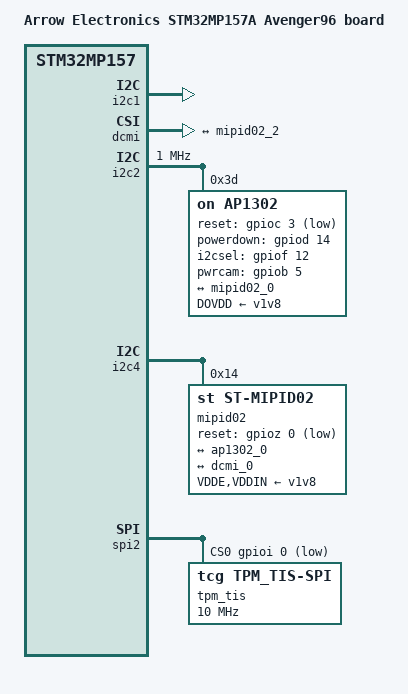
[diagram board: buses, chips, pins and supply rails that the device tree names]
// SPDX-License-Identifier: (GPL-2.0+ OR BSD-3-Clause)
/*
 * Copyright (C) Arrow Electronics 2020 - All Rights Reserved
 * Author: Botond Kardos <botond.kardos@arroweurope.com> for Arrow Electronics
 */
/dts-v1/;

#include "stm32mp157a-av96.dtsi"

/ {
	model = "Arrow Electronics STM32MP157A Avenger96 board";
	compatible = "st,stm32mp157a-av96", "st,stm32mp157c-ed1", "st,stm32mp157";
};

&i2c1 {
	pinctrl-names = "default", "sleep";
	pinctrl-0 = <&i2c1_pins_a>;
	pinctrl-1 = <&i2c1_pins_sleep_a>;
	i2c-scl-rising-time-ns = <185>;
	i2c-scl-falling-time-ns = <20>;
	status = "okay";
};

&dcmi {
	status = "okay";
	pinctrl-names = "default", "sleep";
	pinctrl-0 = <&dcmi_pins_a>;
	pinctrl-1 = <&dcmi_sleep_pins_a>;

	port {
		dcmi_0: endpoint {
			remote-endpoint = <&mipid02_2>;
			bus-width = <8>;
			hsync-active = <0>;
			vsync-active = <0>;
			pclk-sample = <0>;
			pclk-max-frequency = <77000000>;
		};
	};
};

&i2c2 {
	clock-frequency = <1000000>;

	ap1302: camera@3d {
		compatible = "on,ap1302";
		reg = <0x3d>;
		pinctrl-names = "default", "sleep";
		pinctrl-0 = <&rcc_pins_a>;
		pinctrl-1 = <&rcc_sleep_pins_a>;
		clocks = <&rcc CK_MCO1>;
		clock-names = "xclk";
		assigned-clocks = <&rcc CK_MCO1>;
		assigned-clock-rates = <24000000>;
		DOVDD-supply = <&v1v8>;
		reset-gpios = <&gpioc 3 GPIO_ACTIVE_LOW>;
		powerdown-gpios = <&gpiod 14 GPIO_ACTIVE_HIGH>;
		i2csel-gpios = <&gpiof 12 GPIO_ACTIVE_HIGH>;
		pwrcam-gpios = <&gpiob 5 GPIO_ACTIVE_HIGH>;
		rotation = <180>;
		status = "okay";

		port {
			ap1302_0: endpoint {
				remote-endpoint = <&mipid02_0>;
				clock-lanes = <0>;
				data-lanes = <1 2>;
				pclk-max-frequency = <77000000>;
			};
		};
	};
};

&i2c4 {
	mipid02: mipid02@14 {
		compatible = "st,st-mipid02";
		reg = <0x14>;
		status = "okay";
		clocks = <&rcc CK_MCO1>;
		clock-names = "xclk";
		assigned-clocks = <&rcc CK_MCO1>;
		assigned-clock-rates = <24000000>;
		VDDE-supply = <&v1v8>;
		VDDIN-supply = <&v1v8>;
		reset-gpios = <&gpioz 0 GPIO_ACTIVE_LOW>;
		ports {
			#address-cells = <1>;
			#size-cells = <0>;
			port@0 {
				reg = <0>;

				mipid02_0: endpoint_0 {
					data-lanes = <1 2>;
					remote-endpoint = <&ap1302_0>;
				};
			};
			port@2 {
				reg = <2>;

				mipid02_2: endpoint {
					bus-width = <8>;
					hsync-active = <0>;
					vsync-active = <0>;
					pclk-sample = <0>;
					remote-endpoint = <&dcmi_0>;
				};
			};
		};
	};
};

/* Tresor board */
&spi2 {
	pinctrl-names = "default", "sleep";
	pinctrl-0 = <&spi2_pins_a>;
	pinctrl-1 = <&spi2_sleep_pins_a>;
	status = "okay";
	cs-gpios = <&gpioi 0 GPIO_ACTIVE_LOW>;

	tpm_tis@0 {
		compatible = "tcg,tpm_tis-spi";
		reg = <0>;
		spi-max-frequency = <10000000>;
	};
};
